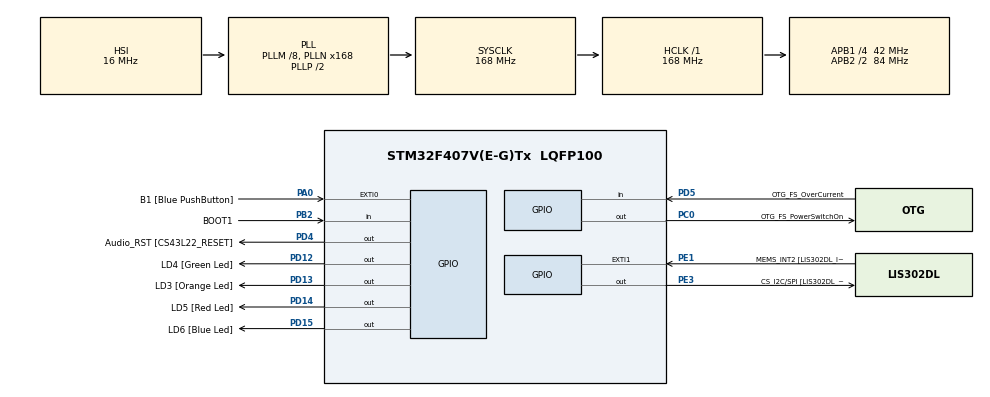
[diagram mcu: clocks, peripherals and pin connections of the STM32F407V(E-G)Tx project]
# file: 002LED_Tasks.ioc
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Mcu.Family=STM32F4
PA11.GPIO_Speed=GPIO_SPEED_FREQ_LOW
PC3.GPIO_Mode=GPIO_MODE_AF_PP
PD12.GPIO_Label=LD4 [Green Led]
PH0-OSC_IN.Signal=RCC_OSC_IN
RCC.CortexFreq_Value=168000000
PC10.GPIO_PuPd=GPIO_NOPULL
PB10.GPIO_Speed=GPIO_SPEED_FREQ_LOW
PB6.GPIO_Mode=GPIO_MODE_AF_OD
PB10.GPIO_PuPd=GPIO_NOPULL
PA10.GPIO_PuPd=GPIO_NOPULL
PD15.GPIO_Speed=GPIO_SPEED_FREQ_LOW
PC10.Signal=I2S3_CK
PC12.Signal=I2S3_SD
PA14.GPIO_Label=SWCLK
PA7.GPIO_Mode=GPIO_MODE_AF_PP
PC0.GPIO_Label=OTG_FS_PowerSwitchOn
PA6.GPIO_Label=SPI1_MISO [LIS302DL_SDO]
PB6.GPIO_Label=Audio_SCL [CS43L22_SCL]
PC10.GPIO_Speed=GPIO_SPEED_FREQ_LOW
PA11.GPIO_PuPd=GPIO_NOPULL
PC15-OSC32_OUT.GPIO_Label=PC15-OSC32_OUT
PC3.GPIO_Speed=GPIO_SPEED_FREQ_LOW
RCC.SYSCLKSource=RCC_SYSCLKSOURCE_PLLCLK
ProjectManager.StackSize=0x400
PA6.GPIO_Mode=GPIO_MODE_AF_PP
PD13.Signal=GPIO_Output
PD14.GPIO_Speed=GPIO_SPEED_FREQ_LOW
PA12.Signal=USB_OTG_FS_DP
NVIC.TIM5_IRQn=true\:0\:0\:false\:false\:true\:false\:true
RCC.HCLKFreq_Value=168000000
PD4.Signal=GPIO_Output
RCC.APB2TimFreq_Value=168000000
PB6.Signal=I2C1_SCL
PC7.Signal=I2S3_MCK
PC3.Signal=I2S2_SD
PE1.Signal=GPXTI1
RCC.AHBFreq_Value=168000000
PH0-OSC_IN.GPIO_Label=PH0-OSC_IN
PA9.GPIO_Mode=GPIO_MODE_INPUT
RCC.HSE_VALUE=8000000
PA4.GPIO_PuPd=GPIO_NOPULL
PB2.Signal=GPIO_Input
PA4.GPIO_Speed=GPIO_SPEED_FREQ_LOW
PA6.GPIO_PuPd=GPIO_NOPULL
PA5.GPIO_PuPd=GPIO_NOPULL
PA10.GPIO_Label=OTG_FS_ID
PC7.GPIO_Mode=GPIO_MODE_AF_PP
PD5.GPIO_Mode=GPIO_MODE_INPUT
PD14.GPIO_PuPd=GPIO_NOPULL
PB2.GPIO_PuPd=GPIO_NOPULL
PD13.GPIO_Label=LD3 [Orange Led]
Mcu.Package=LQFP100
PB9.Signal=I2C1_SDA
PA6.Signal=SPI1_MISO
NVIC.TimeBase=TIM5_IRQn
PD12.Signal=GPIO_Output
PD5.GPIO_Label=OTG_FS_OverCurrent
PD15.GPIO_PuPd=GPIO_NOPULL
NVIC.TimeBaseIP=TIM5
PA10.Signal=USB_OTG_FS_ID
PB9.GPIO_PuPd=GPIO_NOPULL
PA10.GPIO_Speed=GPIO_SPEED_FREQ_LOW
RCC.APB2CLKDivider=RCC_HCLK_DIV2
PB9.GPIO_Speed=GPIO_SPEED_FREQ_LOW
RCC.APB1TimFreq_Value=84000000
PC14-OSC32_IN.GPIO_Label=PC14-OSC32_IN
PC12.GPIO_PuPd=GPIO_NOPULL
PA6.GPIO_Speed=GPIO_SPEED_FREQ_LOW
PC0.GPIO_PuPd=GPIO_NOPULL
PA12.GPIO_PuPd=GPIO_NOPULL
PA4.GPIO_Label=I2S3_WS [CS43L22_LRCK]
PD15.Signal=GPIO_Output
PC0.PinState=GPIO_PIN_SET
PA12.GPIO_Speed=GPIO_SPEED_FREQ_LOW
PB3.GPIO_Label=SWO
PD12.GPIO_Speed=GPIO_SPEED_FREQ_LOW
PD15.GPIO_Label=LD6 [Blue Led]
PB9.GPIO_Label=Audio_SDA [CS43L22_SDA]
PC10.GPIO_Label=I2S3_SCK [CS43L22_SCLK]
PA9.GPIO_Label=VBUS_FS
PB6.GPIO_PuPd=GPIO_NOPULL
VP_SYS_VS_tim5.Mode=TIM5
PA11.GPIO_Label=OTG_FS_DM
PE1.GPIO_PuPd=GPIO_NOPULL
PD5.Signal=GPIO_Input
PC0.Signal=GPIO_Output
PE1.GPIO_ModeDefaultEXTI=GPIO_MODE_EVT_RISING
RCC.APB1CLKDivider=RCC_HCLK_DIV4
PC14-OSC32_IN.Signal=RCC_OSC32_IN
PA9.GPIO_PuPd=GPIO_NOPULL
PA12.GPIO_Label=OTG_FS_DP
PA0-WKUP.GPIO_Label=B1 [Blue PushButton]
PA0-WKUP.Signal=GPXTI0
PA10.GPIO_Mode=GPIO_MODE_AF_PP
PA13.Signal=SYS_JTMS-SWDIO
PC10.GPIO_Mode=GPIO_MODE_AF_PP
PD4.GPIO_PuPd=GPIO_NOPULL
PC0.GPIO_Speed=GPIO_SPEED_FREQ_LOW
PB10.GPIO_Mode=GPIO_MODE_AF_PP
ProjectManager.TargetToolchain=STM32CubeIDE
PB10.GPIO_Label=CLK_IN [MP45DT02_CLK]
PA9.Signal=USB_OTG_FS_VBUS
PC7.GPIO_PuPd=GPIO_NOPULL
RCC.LSE_VALUE=32768
PC15-OSC32_OUT.Signal=RCC_OSC32_OUT
PA7.GPIO_PuPd=GPIO_NOPULL
PB10.Signal=I2S2_CK
PA5.Signal=SPI1_SCK
board=STM32F407G-DISC1
PD13.GPIO_Speed=GPIO_SPEED_FREQ_LOW
PC7.GPIO_Speed=GPIO_SPEED_FREQ_LOW
RCC.VCOOutputFreq_Value=336000000
PE1.GPIO_Label=MEMS_INT2 [LIS302DL_INT2]
PA7.GPIO_Speed=GPIO_SPEED_FREQ_LOW
PB9.GPIO_Mode=GPIO_MODE_AF_OD
PA12.GPIO_Mode=GPIO_MODE_AF_PP
PA4.GPIO_Mode=GPIO_MODE_AF_PP
RCC.APB2Freq_Value=84000000
PB2.GPIO_Mode=GPIO_MODE_INPUT
PD4.GPIO_Label=Audio_RST [CS43L22_RESET]
PD4.GPIO_Speed=GPIO_SPEED_FREQ_LOW
PE3.GPIO_PuPd=GPIO_NOPULL
PH1-OSC_OUT.Signal=RCC_OSC_OUT
PD13.GPIO_PuPd=GPIO_NOPULL
PD5.GPIO_PuPd=GPIO_NOPULL
PD14.GPIO_Label=LD5 [Red Led]
PH1-OSC_OUT.GPIO_Label=PH1-OSC_OUT
Mcu.Name=STM32F407V(E-G)Tx
PA13.GPIO_Label=SWDIO
PC7.GPIO_Label=I2S3_MCK [CS43L22_MCLK]
PD14.Signal=GPIO_Output
RCC.48MHZClocksFreq_Value=48000000
PB3.Signal=SYS_JTDO-SWO
PA4.Signal=I2S3_WS
RCC.SYSCLKFreq_VALUE=168000000
PC12.GPIO_Mode=GPIO_MODE_AF_PP
PA7.GPIO_Label=SPI1_MOSI [LIS302DL_SDA/SDI/SDO]
PA5.GPIO_Label=SPI1_SCK [LIS302DL_SCL/SPC]
PE3.GPIO_Speed=GPIO_SPEED_FREQ_LOW
PC12.GPIO_Label=I2S3_SD [CS43L22_SDIN]
PA11.Signal=USB_OTG_FS_DM
PA14.Signal=SYS_JTCK-SWCLK
PB2.GPIO_Label=BOOT1
ProjectManager.HeapSize=0x200
RCC.HSI_VALUE=16000000
PA5.GPIO_Speed=GPIO_SPEED_FREQ_LOW
RCC.PLLQ=7
NVIC.PriorityGroup=NVIC_PRIORITYGROUP_4
RCC.PLLM=8
RCC.PLLN=168
PE3.Signal=GPIO_Output
PE3.GPIO_Label=CS_I2C/SPI [LIS302DL_CS_I2C/SPI]
PC3.GPIO_Label=PDM_OUT [MP45DT02_DOUT]
PA11.GPIO_Mode=GPIO_MODE_AF_PP
PB6.GPIO_Speed=GPIO_SPEED_FREQ_LOW
RCC.APB1Freq_Value=42000000
PA5.GPIO_Mode=GPIO_MODE_AF_PP
PC12.GPIO_Speed=GPIO_SPEED_FREQ_LOW
PC3.GPIO_PuPd=GPIO_NOPULL
PD12.GPIO_PuPd=GPIO_NOPULL
PA7.Signal=SPI1_MOSI

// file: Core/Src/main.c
/* USER CODE BEGIN Header */
/**
  ******************************************************************************
  * @file           : main.c
  * @brief          : Main program body
  ******************************************************************************
  * @attention
  *
  * <h2><center>&copy; Copyright (c) 2022 STMicroelectronics.
  * All rights reserved.</center></h2>
  *
  * This software component is licensed by ST under BSD 3-Clause license,
  * the "License"; You may not use this file except in compliance with the
  * License. You may obtain a copy of the License at:
  *                        opensource.org/licenses/BSD-3-Clause
  *
  ******************************************************************************
  */
/* USER CODE END Header */
#include "main.h"

/* USER CODE BEGIN Includes */
#include "FreeRTOS.h"
#include "task.h"
/* USER CODE END Includes */

/* USER CODE BEGIN PM */
#define DWT_CTRL	(*(volatile uint32_t*) 0xE0001000)
/* USER CODE END PM */

void SystemClock_Config(void);
static void MX_GPIO_Init(void);
/* USER CODE BEGIN PFP */
static void led_green_handler(void* parameters);
static void led_orange_handler(void* parameters);
static void led_red_handler(void* parameters);
extern void SEGGER_UART_init(U32 baud);
/* USER CODE END PFP */

int main(void)
{
  /* USER CODE BEGIN 1 */
	TaskHandle_t led_green_handle;
	TaskHandle_t led_orange_handle;
	TaskHandle_t led_red_handle;
	BaseType_t status;
  /* USER CODE END 1 */

  /* MCU Configuration--------------------------------------------------------*/

  /* Reset of all peripherals, Initializes the Flash interface and the Systick. */
  HAL_Init();

  /* Configure the system clock */
  SystemClock_Config();

  /* Initialize all configured peripherals */
  MX_GPIO_Init();

  SEGGER_UART_init(250000);

  /* USER CODE BEGIN 2 */
  DWT_CTRL |= 1 << 0;

  SEGGER_SYSVIEW_Conf();

  status = xTaskCreate(led_green_handler, "LED Green Task", 200, NULL, 2, &led_green_handle);
  configASSERT(status == pdPASS);

  status = xTaskCreate(led_orange_handler, "LED Orange Task", 200, NULL, 2, &led_orange_handle);
  configASSERT(status == pdPASS);

  status = xTaskCreate(led_red_handler, "LED Red Task", 200, NULL, 2, &led_red_handle);
  configASSERT(status == pdPASS);

  vTaskStartScheduler();

  /* USER CODE END 2 */

  /* Infinite loop */
  while (1)
  {

  }
}

void SystemClock_Config(void)
{
  RCC_OscInitTypeDef RCC_OscInitStruct = {0};
  RCC_ClkInitTypeDef RCC_ClkInitStruct = {0};

  /** Configure the main internal regulator output voltage
  */
  __HAL_RCC_PWR_CLK_ENABLE();
  __HAL_PWR_VOLTAGESCALING_CONFIG(PWR_REGULATOR_VOLTAGE_SCALE1);
  /** Initializes the RCC Oscillators according to the specified parameters
  * in the RCC_OscInitTypeDef structure.
  */
  RCC_OscInitStruct.OscillatorType = RCC_OSCILLATORTYPE_HSI;
  RCC_OscInitStruct.HSIState = RCC_HSI_ON;
  RCC_OscInitStruct.HSICalibrationValue = RCC_HSICALIBRATION_DEFAULT;
  RCC_OscInitStruct.PLL.PLLState = RCC_PLL_ON;
  RCC_OscInitStruct.PLL.PLLSource = RCC_PLLSOURCE_HSI;
  RCC_OscInitStruct.PLL.PLLM = 8;
  RCC_OscInitStruct.PLL.PLLN = 168;
  RCC_OscInitStruct.PLL.PLLP = RCC_PLLP_DIV2;
  RCC_OscInitStruct.PLL.PLLQ = 7;
  if (HAL_RCC_OscConfig(&RCC_OscInitStruct) != HAL_OK)
  {
    Error_Handler();
  }
  /** Initializes the CPU, AHB and APB buses clocks
  */
  RCC_ClkInitStruct.ClockType = RCC_CLOCKTYPE_HCLK|RCC_CLOCKTYPE_SYSCLK
                              |RCC_CLOCKTYPE_PCLK1|RCC_CLOCKTYPE_PCLK2;
  RCC_ClkInitStruct.SYSCLKSource = RCC_SYSCLKSOURCE_PLLCLK;
  RCC_ClkInitStruct.AHBCLKDivider = RCC_SYSCLK_DIV1;
  RCC_ClkInitStruct.APB1CLKDivider = RCC_HCLK_DIV4;
  RCC_ClkInitStruct.APB2CLKDivider = RCC_HCLK_DIV2;

  if (HAL_RCC_ClockConfig(&RCC_ClkInitStruct, FLASH_LATENCY_5) != HAL_OK)
  {
    Error_Handler();
  }
}

static void MX_GPIO_Init(void)
{
  GPIO_InitTypeDef GPIO_InitStruct = {0};

  /* GPIO Ports Clock Enable */
  __HAL_RCC_GPIOE_CLK_ENABLE();
  __HAL_RCC_GPIOC_CLK_ENABLE();
  __HAL_RCC_GPIOH_CLK_ENABLE();
  __HAL_RCC_GPIOA_CLK_ENABLE();
  __HAL_RCC_GPIOB_CLK_ENABLE();
  __HAL_RCC_GPIOD_CLK_ENABLE();

  /*Configure GPIO pin Output Level */
  HAL_GPIO_WritePin(CS_I2C_SPI_GPIO_Port, CS_I2C_SPI_Pin, GPIO_PIN_RESET);

  /*Configure GPIO pin Output Level */
  HAL_GPIO_WritePin(OTG_FS_PowerSwitchOn_GPIO_Port, OTG_FS_PowerSwitchOn_Pin, GPIO_PIN_SET);

  /*Configure GPIO pin Output Level */
  HAL_GPIO_WritePin(GPIOD, LD4_Pin|LD3_Pin|LD5_Pin|LD6_Pin
                          |Audio_RST_Pin, GPIO_PIN_RESET);

  /*Configure GPIO pin : CS_I2C_SPI_Pin */
  GPIO_InitStruct.Pin = CS_I2C_SPI_Pin;
  GPIO_InitStruct.Mode = GPIO_MODE_OUTPUT_PP;
  GPIO_InitStruct.Pull = GPIO_NOPULL;
  GPIO_InitStruct.Speed = GPIO_SPEED_FREQ_LOW;
  HAL_GPIO_Init(CS_I2C_SPI_GPIO_Port, &GPIO_InitStruct);

  /*Configure GPIO pin : OTG_FS_PowerSwitchOn_Pin */
  GPIO_InitStruct.Pin = OTG_FS_PowerSwitchOn_Pin;
  GPIO_InitStruct.Mode = GPIO_MODE_OUTPUT_PP;
  GPIO_InitStruct.Pull = GPIO_NOPULL;
  GPIO_InitStruct.Speed = GPIO_SPEED_FREQ_LOW;
  HAL_GPIO_Init(OTG_FS_PowerSwitchOn_GPIO_Port, &GPIO_InitStruct);

  /*Configure GPIO pin : PDM_OUT_Pin */
  GPIO_InitStruct.Pin = PDM_OUT_Pin;
  GPIO_InitStruct.Mode = GPIO_MODE_AF_PP;
  GPIO_InitStruct.Pull = GPIO_NOPULL;
  GPIO_InitStruct.Speed = GPIO_SPEED_FREQ_LOW;
  GPIO_InitStruct.Alternate = GPIO_AF5_SPI2;
  HAL_GPIO_Init(PDM_OUT_GPIO_Port, &GPIO_InitStruct);

  /*Configure GPIO pin : B1_Pin */
  GPIO_InitStruct.Pin = B1_Pin;
  GPIO_InitStruct.Mode = GPIO_MODE_IT_RISING;
  GPIO_InitStruct.Pull = GPIO_NOPULL;
  HAL_GPIO_Init(B1_GPIO_Port, &GPIO_InitStruct);

  /*Configure GPIO pin : I2S3_WS_Pin */
  GPIO_InitStruct.Pin = I2S3_WS_Pin;
  GPIO_InitStruct.Mode = GPIO_MODE_AF_PP;
  GPIO_InitStruct.Pull = GPIO_NOPULL;
  GPIO_InitStruct.Speed = GPIO_SPEED_FREQ_LOW;
  GPIO_InitStruct.Alternate = GPIO_AF6_SPI3;
  HAL_GPIO_Init(I2S3_WS_GPIO_Port, &GPIO_InitStruct);

  /*Configure GPIO pins : SPI1_SCK_Pin SPI1_MISO_Pin SPI1_MOSI_Pin */
  GPIO_InitStruct.Pin = SPI1_SCK_Pin|SPI1_MISO_Pin|SPI1_MOSI_Pin;
  GPIO_InitStruct.Mode = GPIO_MODE_AF_PP;
  GPIO_InitStruct.Pull = GPIO_NOPULL;
  GPIO_InitStruct.Speed = GPIO_SPEED_FREQ_LOW;
  GPIO_InitStruct.Alternate = GPIO_AF5_SPI1;
  HAL_GPIO_Init(GPIOA, &GPIO_InitStruct);

  /*Configure GPIO pin : BOOT1_Pin */
  GPIO_InitStruct.Pin = BOOT1_Pin;
  GPIO_InitStruct.Mode = GPIO_MODE_INPUT;
  GPIO_InitStruct.Pull = GPIO_NOPULL;
  HAL_GPIO_Init(BOOT1_GPIO_Port, &GPIO_InitStruct);

  /*Configure GPIO pin : CLK_IN_Pin */
  GPIO_InitStruct.Pin = CLK_IN_Pin;
  GPIO_InitStruct.Mode = GPIO_MODE_AF_PP;
  GPIO_InitStruct.Pull = GPIO_NOPULL;
  GPIO_InitStruct.Speed = GPIO_SPEED_FREQ_LOW;
  GPIO_InitStruct.Alternate = GPIO_AF5_SPI2;
  HAL_GPIO_Init(CLK_IN_GPIO_Port, &GPIO_InitStruct);

  /*Configure GPIO pins : LD4_Pin LD3_Pin LD5_Pin LD6_Pin
                           Audio_RST_Pin */
  GPIO_InitStruct.Pin = LD4_Pin|LD3_Pin|LD5_Pin|LD6_Pin
                          |Audio_RST_Pin;
  GPIO_InitStruct.Mode = GPIO_MODE_OUTPUT_PP;
  GPIO_InitStruct.Pull = GPIO_NOPULL;
  GPIO_InitStruct.Speed = GPIO_SPEED_FREQ_LOW;
  HAL_GPIO_Init(GPIOD, &GPIO_InitStruct);

  /*Configure GPIO pins : I2S3_MCK_Pin I2S3_SCK_Pin I2S3_SD_Pin */
  GPIO_InitStruct.Pin = I2S3_MCK_Pin|I2S3_SCK_Pin|I2S3_SD_Pin;
  GPIO_InitStruct.Mode = GPIO_MODE_AF_PP;
  GPIO_InitStruct.Pull = GPIO_NOPULL;
  GPIO_InitStruct.Speed = GPIO_SPEED_FREQ_LOW;
  GPIO_InitStruct.Alternate = GPIO_AF6_SPI3;
  HAL_GPIO_Init(GPIOC, &GPIO_InitStruct);

  /*Configure GPIO pin : VBUS_FS_Pin */
  GPIO_InitStruct.Pin = VBUS_FS_Pin;
  GPIO_InitStruct.Mode = GPIO_MODE_INPUT;
  GPIO_InitStruct.Pull = GPIO_NOPULL;
  HAL_GPIO_Init(VBUS_FS_GPIO_Port, &GPIO_InitStruct);

  /*Configure GPIO pins : OTG_FS_ID_Pin OTG_FS_DM_Pin OTG_FS_DP_Pin */
  GPIO_InitStruct.Pin = OTG_FS_ID_Pin|OTG_FS_DM_Pin|OTG_FS_DP_Pin;
  GPIO_InitStruct.Mode = GPIO_MODE_AF_PP;
  GPIO_InitStruct.Pull = GPIO_NOPULL;
  GPIO_InitStruct.Speed = GPIO_SPEED_FREQ_LOW;
  GPIO_InitStruct.Alternate = GPIO_AF10_OTG_FS;
  HAL_GPIO_Init(GPIOA, &GPIO_InitStruct);

  /*Configure GPIO pin : OTG_FS_OverCurrent_Pin */
  GPIO_InitStruct.Pin = OTG_FS_OverCurrent_Pin;
  GPIO_InitStruct.Mode = GPIO_MODE_INPUT;
  GPIO_InitStruct.Pull = GPIO_NOPULL;
  HAL_GPIO_Init(OTG_FS_OverCurrent_GPIO_Port, &GPIO_InitStruct);

  /*Configure GPIO pins : Audio_SCL_Pin Audio_SDA_Pin */
  GPIO_InitStruct.Pin = Audio_SCL_Pin|Audio_SDA_Pin;
  GPIO_InitStruct.Mode = GPIO_MODE_AF_OD;
  GPIO_InitStruct.Pull = GPIO_PULLUP;
  GPIO_InitStruct.Speed = GPIO_SPEED_FREQ_LOW;
  GPIO_InitStruct.Alternate = GPIO_AF4_I2C1;
  HAL_GPIO_Init(GPIOB, &GPIO_InitStruct);

  /*Configure GPIO pin : MEMS_INT2_Pin */
  GPIO_InitStruct.Pin = MEMS_INT2_Pin;
  GPIO_InitStruct.Mode = GPIO_MODE_EVT_RISING;
  GPIO_InitStruct.Pull = GPIO_NOPULL;
  HAL_GPIO_Init(MEMS_INT2_GPIO_Port, &GPIO_InitStruct);

}

/* USER CODE BEGIN 4 */
static void led_green_handler(void* parameters){
//	TickType_t xLastWakeTime;
//	const TickType_t xFrequency = 1000;
//	xLastWakeTime = xTaskGetTickCount();
	while(1){
		SEGGER_SYSVIEW_PrintfTarget("LED GREEN");
		HAL_GPIO_TogglePin(GPIOD, LED_GREEN_PIN);
//		HAL_Delay(1000);
		vTaskDelay(pdMS_TO_TICKS(1000));
//		vTaskDelayUntil(&xLastWakeTime, xFrequency);
	}
}

static void led_orange_handler(void* parameters){
//	TickType_t xLastWakeTime;
//	const TickType_t xFrequency = 800;
//	xLastWakeTime = xTaskGetTickCount();
	while(1){
		SEGGER_SYSVIEW_PrintfTarget("LED ORANGE");
		HAL_GPIO_TogglePin(GPIOD, LED_ORANGE_PIN);
//		HAL_Delay(800);
		vTaskDelay(pdMS_TO_TICKS(800));
//		vTaskDelayUntil(&xLastWakeTime, xFrequency);
	}
}

static void led_red_handler(void* parameters){
//	TickType_t xLastWakeTime;
//	const TickType_t xFrequency = 400;
//	xLastWakeTime = xTaskGetTickCount();
	while(1){
		SEGGER_SYSVIEW_PrintfTarget("LED RED");
		HAL_GPIO_TogglePin(GPIOD, LED_RED_PIN);
//		HAL_Delay(400);
		vTaskDelay(pdMS_TO_TICKS(400));
//		vTaskDelayUntil(&xLastWakeTime, xFrequency);
	}
}
/* USER CODE END 4 */

 /**
  * @brief  Period elapsed callback in non blocking mode
  * @note   This function is called  when TIM5 interrupt took place, inside
  * HAL_TIM_IRQHandler(). It makes a direct call to HAL_IncTick() to increment
  * a global variable "uwTick" used as application time base.
  * @param  htim : TIM handle
  * @retval None
  */
void HAL_TIM_PeriodElapsedCallback(TIM_HandleTypeDef *htim)
{
  if (htim->Instance == TIM5) {
    HAL_IncTick();
  }
}

void Error_Handler(void)
{
  __disable_irq();
  while (1)
  {
  }
}

/************************ (C) COPYRIGHT STMicroelectronics *****END OF FILE****/
